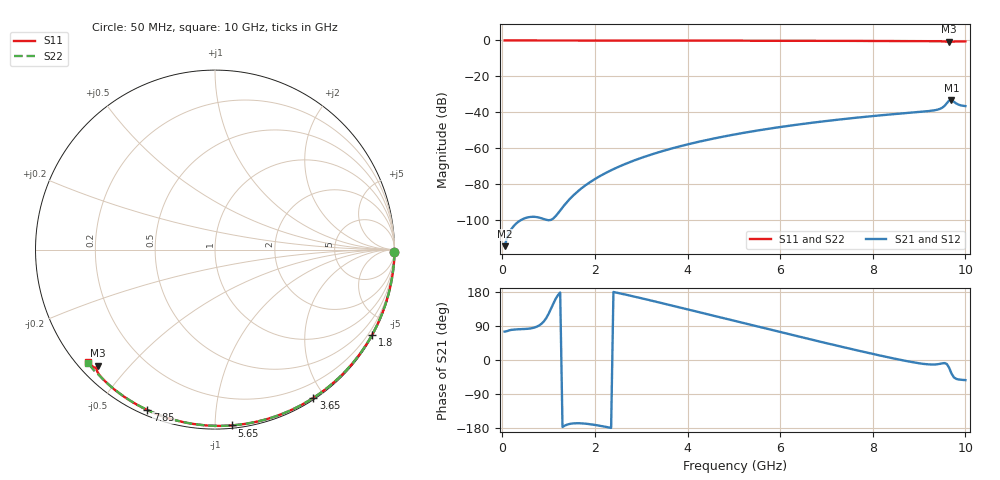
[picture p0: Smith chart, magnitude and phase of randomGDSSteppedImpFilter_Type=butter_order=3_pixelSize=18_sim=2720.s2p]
! freq	dB(S11)	phase(S11)	dB(S12)	phase(S12)
!  dB(S21)	phase(S21)	dB(S22)	phase(S22)
!S-par simulation data
#  GHz  S  DB  R 50
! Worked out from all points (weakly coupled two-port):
!   200 points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, 50 MHz to 10 GHz, reference 50 ohm
!   highest |S21| = -33.18 dB at 9.7 GHz (marker M1); lowest = -114.5 dB at 50 MHz (marker M2)
!   lowest |S11| = -0.7 dB at 9.65 GHz (marker M3), VSWR 23.21, Z = 2.52 - j20.6 ohm
!   |S11| at or under -10 dB: nowhere
!   |S22| runs from -0.5 to 0.0 dB; largest |S21 - S12| = 0
!   S11 on the Smith chart (normalised r, x): 50 MHz: open; 1.8 GHz: 0.03, -3.93; 3.65 GHz: 0.02, -1.86; 5.65 GHz: 0.02, -1.10; 7.85 GHz: 0.02, -0.66; 10 GHz: 0.03, -0.38
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0.05  -0.00 -0.8  -114.54 75.0  -114.54 75.0  -0.00 -0.8
0.9  -0.02 -14.4  -99.46 102.3  -99.46 102.3  -0.02 -14.3
1.75  -0.04 -27.7  -81.54 -167.5  -81.54 -167.5  -0.04 -27.6
1.8  -0.04 -28.5  -80.58 -168.1  -80.58 -168.1  -0.04 -28.4
1.85  -0.04 -29.3  -79.68 -168.7  -79.68 -168.7  -0.04 -29.1
2.25  -0.05 -35.5  -73.55 -176.8  -73.55 -176.8  -0.05 -35.3
2.55  -0.05 -40.0  -69.90 175.6  -69.90 175.6  -0.05 -39.8
2.95  -0.06 -46.1  -65.85 164.5  -65.85 164.5  -0.06 -45.8
3.4  -0.07 -52.8  -62.05 151.5  -62.05 151.5  -0.07 -52.5
3.65  -0.08 -56.4  -60.21 144.0  -60.21 144.0  -0.08 -56.1
4.3  -0.09 -65.8  -56.07 124.6  -56.07 124.6  -0.09 -65.4
5.05  -0.12 -76.3  -52.18 102.0  -52.18 102.0  -0.12 -75.9
5.65  -0.14 -84.5  -49.57 84.1  -49.57 84.1  -0.14 -84.0
6.7  -0.19 -98.3  -45.78 53.1  -45.78 53.1  -0.19 -97.7
7.85  -0.26 -112.9  -42.47 20.2  -42.47 20.2  -0.26 -112.2
8.35  -0.30 -119.1  -41.26 6.7  -41.26 6.7  -0.30 -118.3
9.4  -0.44 -132.4  -38.51 -11.1  -38.51 -11.1  -0.41 -131.0
9.5  -0.49 -133.9  -37.45 -8.8  -37.45 -8.8  -0.42 -132.2
9.65  -0.75 -135.1  -33.36 -20.8  -33.36 -20.8  -0.42 -133.9
9.7  -0.72 -134.6  -33.18 -35.8  -33.18 -35.8  -0.41 -134.6
9.85  -0.51 -136.3  -35.71 -51.3  -35.71 -51.3  -0.44 -136.5
10  -0.49 -138.5  -36.55 -53.1  -36.55 -53.1  -0.46 -138.3
